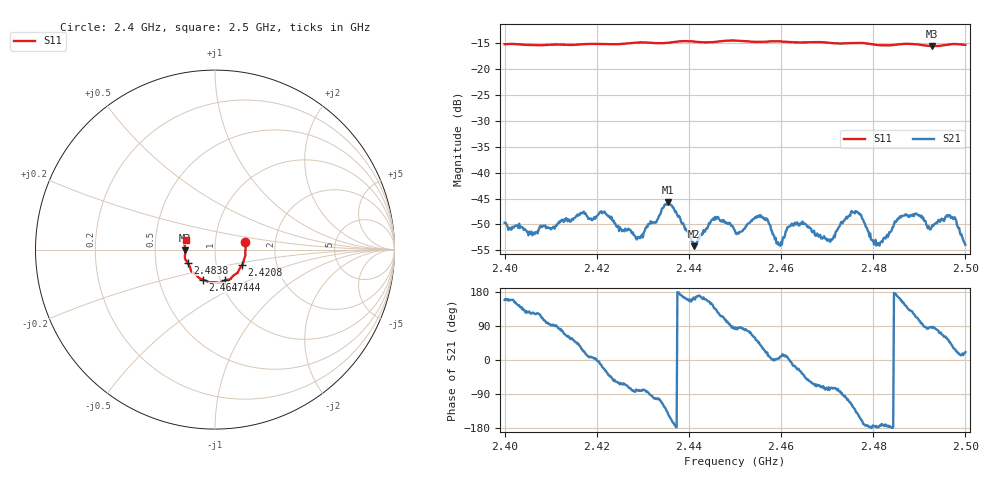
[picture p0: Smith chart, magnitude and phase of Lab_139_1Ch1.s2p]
# Hz S RI R 50
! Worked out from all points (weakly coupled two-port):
!   601 points, 2.4 GHz to 2.5 GHz, reference 50 ohm
!   highest |S21| = -45.75 dB at 2.4355 GHz (marker M1); lowest = -54.2 dB at 2.4412 GHz (marker M2)
!   lowest |S11| = -15.6 dB at 2.4928 GHz (marker M3), VSWR 1.40, Z = 35.8 - j0.356 ohm
!   |S11| at or under -10 dB: start of sweep to end of sweep
!   S12 and S22 are empty: the file has one direction only
!   S11 on the Smith chart (normalised r, x): 2.4 GHz: 1.40, +0.12; 2.4208 GHz: 1.33, -0.24; 2.444 GHz: 1.06, -0.37; 2.4647 GHz: 0.83, -0.29; 2.4838 GHz: 0.73, -0.11; 2.5 GHz: 0.72, +0.08
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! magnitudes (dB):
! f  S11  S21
! 2.4 GHz  -15.2  -49.7
! 2.4167 GHz  -15.2  -47.8
! 2.4208 GHz  -15.2  -47.6
! 2.4288 GHz  -14.9  -52.5
! 2.4333 GHz  -15.0  -48.8
! 2.4355 GHz  -15.0  -45.8
! 2.4412 GHz  -14.7  -54.2
! 2.444 GHz  -14.9  -50.8
! 2.45 GHz  -14.5  -51.3
! 2.4553 GHz  -14.8  -48.2
! 2.4597 GHz  -14.7  -53.9
! 2.4647 GHz  -14.9  -49.4
! 2.4667 GHz  -14.8  -51.4
! 2.4708 GHz  -15.0  -52.9
! 2.4758 GHz  -15.0  -47.7
! 2.4803 GHz  -15.3  -53.4
! 2.4833 GHz  -15.5  -52.1
! 2.4838 GHz  -15.4  -51.4
! 2.4868 GHz  -15.2  -48.3
! 2.4928 GHz  -15.6  -50.1
! 2.4968 GHz  -15.2  -48.8
! 2.5 GHz  -15.4  -53.9
